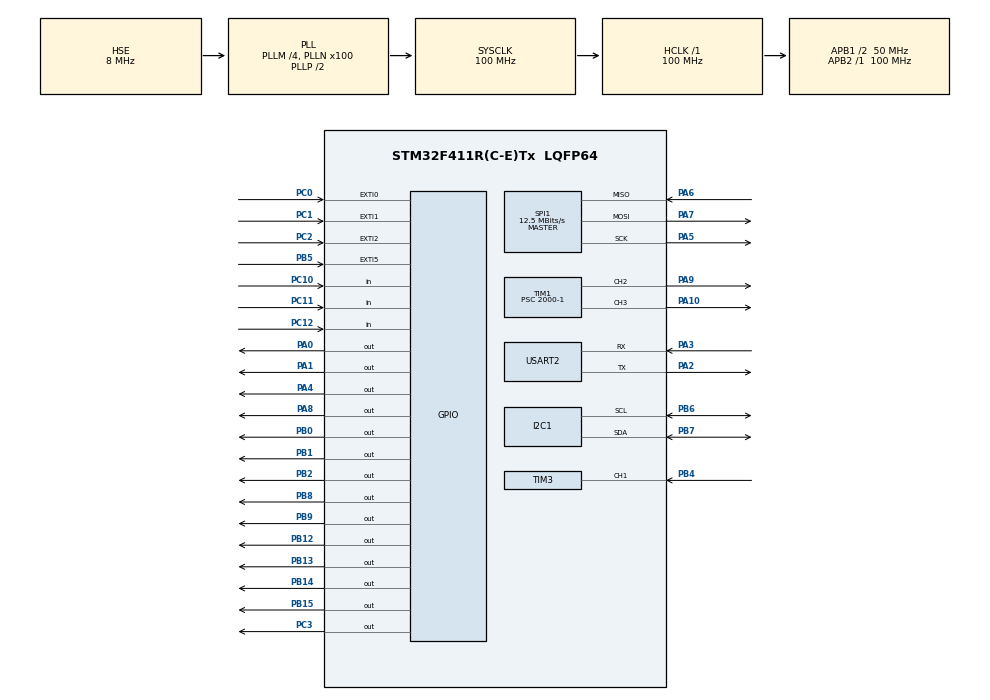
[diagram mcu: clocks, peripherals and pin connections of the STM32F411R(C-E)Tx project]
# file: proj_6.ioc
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Mcu.Family=STM32F4
Mcu.Name=STM32F411R(C-E)Tx
Mcu.Package=LQFP64
NVIC.EXTI0_IRQn=true\:0\:0\:false\:false\:true\:true\:true\:true
NVIC.EXTI1_IRQn=true\:0\:0\:false\:false\:true\:true\:true\:true
NVIC.EXTI2_IRQn=true\:0\:0\:false\:false\:true\:true\:true\:true
NVIC.PriorityGroup=NVIC_PRIORITYGROUP_4
NVIC.TIM3_IRQn=true\:0\:0\:false\:false\:true\:true\:true\:true
NVIC.USART2_IRQn=true\:0\:0\:false\:false\:true\:true\:true\:true
PA0-WKUP.Signal=GPIO_Output
PA1.Signal=GPIO_Output
PA10.Signal=S_TIM1_CH3
PA13.Mode=Serial_Wire
PA13.Signal=SYS_JTMS-SWDIO
PA14.Mode=Serial_Wire
PA14.Signal=SYS_JTCK-SWCLK
PA2.Mode=Asynchronous
PA2.Signal=USART2_TX
PA3.Mode=Asynchronous
PA3.Signal=USART2_RX
PA4.Signal=GPIO_Output
PA5.Mode=Full_Duplex_Master
PA5.Signal=SPI1_SCK
PA6.Mode=Full_Duplex_Master
PA6.Signal=SPI1_MISO
PA7.Mode=Full_Duplex_Master
PA7.Signal=SPI1_MOSI
PA8.Signal=GPIO_Output
PA9.Signal=S_TIM1_CH2
PB0.Signal=GPIO_Output
PB1.Signal=GPIO_Output
PB12.GPIO_Speed=GPIO_SPEED_FREQ_HIGH
PB12.Signal=GPIO_Output
PB13.GPIO_Speed=GPIO_SPEED_FREQ_HIGH
PB13.Signal=GPIO_Output
PB14.GPIO_Speed=GPIO_SPEED_FREQ_HIGH
PB14.Signal=GPIO_Output
PB15.GPIO_Speed=GPIO_SPEED_FREQ_HIGH
PB15.Signal=GPIO_Output
PB2.Signal=GPIO_Output
PB4.Signal=S_TIM3_CH1
PB5.Signal=GPXTI5
PB6.Mode=I2C
PB6.Signal=I2C1_SCL
PB7.Mode=I2C
PB7.Signal=I2C1_SDA
PB8.GPIO_Speed=GPIO_SPEED_FREQ_VERY_HIGH
PB8.Signal=GPIO_Output
PB9.Signal=GPIO_Output
PC0.GPIO_ModeDefaultEXTI=GPIO_MODE_IT_RISING
PC0.Signal=GPXTI0
PC1.GPIO_ModeDefaultEXTI=GPIO_MODE_IT_RISING
PC1.Signal=GPXTI1
PC10.Signal=GPIO_Input
PC11.Signal=GPIO_Input
PC12.Signal=GPIO_Input
PC2.GPIO_ModeDefaultEXTI=GPIO_MODE_IT_RISING
PC2.Signal=GPXTI2
PC3.Signal=GPIO_Output
PH0\ -\ OSC_IN.Mode=HSE-External-Oscillator
PH0\ -\ OSC_IN.Signal=RCC_OSC_IN
PH1\ -\ OSC_OUT.Mode=HSE-External-Oscillator
PH1\ -\ OSC_OUT.Signal=RCC_OSC_OUT
ProjectManager.HeapSize=0x200
ProjectManager.StackSize=0x400
ProjectManager.TargetToolchain=STM32CubeIDE
RCC.48MHZClocksFreq_Value=50000000
RCC.AHBFreq_Value=100000000
RCC.APB1CLKDivider=RCC_HCLK_DIV2
RCC.APB1Freq_Value=50000000
RCC.APB1TimFreq_Value=100000000
RCC.APB2Freq_Value=100000000
RCC.APB2TimFreq_Value=100000000
RCC.CortexFreq_Value=100000000
RCC.HCLKFreq_Value=100000000
RCC.HSE_VALUE=8000000
RCC.HSI_VALUE=16000000
RCC.LSE_VALUE=32768
RCC.PLLM=4
RCC.PLLN=100
RCC.PLLSourceVirtual=RCC_PLLSOURCE_HSE
RCC.SYSCLKFreq_VALUE=100000000
RCC.SYSCLKSource=RCC_SYSCLKSOURCE_PLLCLK
RCC.VCOOutputFreq_Value=200000000
SH.S_TIM1_CH2.0=TIM1_CH2,PWM Generation2 CH2
SH.S_TIM1_CH3.0=TIM1_CH3,PWM Generation3 CH3
SH.S_TIM3_CH1.0=TIM3_CH1,Input_Capture1_from_TI1
SPI1.BaudRatePrescaler=SPI_BAUDRATEPRESCALER_8
SPI1.CalculateBaudRate=12.5 MBits/s
SPI1.Direction=SPI_DIRECTION_2LINES
SPI1.Mode=SPI_MODE_MASTER
SPI1.VirtualType=VM_MASTER
TIM1.Channel-PWM\ Generation2\ CH2=TIM_CHANNEL_2
TIM1.Channel-PWM\ Generation3\ CH3=TIM_CHANNEL_3
TIM1.Period=1000-1
TIM1.Prescaler=2000-1
TIM1.Pulse-PWM\ Generation3\ CH3=500-1
TIM11.Prescaler=100-1
TIM3.Channel-Input_Capture1_from_TI1=TIM_CHANNEL_1
TIM3.Period=65535
TIM3.Prescaler=100-1
USART2.VirtualMode=VM_ASYNC
VP_TIM11_VS_ClockSourceINT.Mode=Enable_Timer
VP_TIM1_VS_ClockSourceINT.Mode=Internal
VP_TIM3_VS_ClockSourceINT.Mode=Internal
VP_TIM4_VS_ClockSourceINT.Mode=Internal
board=custom

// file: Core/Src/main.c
/* USER CODE BEGIN Header */
/**
  ******************************************************************************
  * @file           : main.c
  * @brief          : Main program body
  ******************************************************************************
  * @attention
  *
  * Copyright (c) 2025 STMicroelectronics.
  * All rights reserved.
  *
  * This software is licensed under terms that can be found in the LICENSE file
  * in the root directory of this software component.
  * If no LICENSE file comes with this software, it is provided AS-IS.
  *
  ******************************************************************************
  */
/* USER CODE END Header */
#include "main.h"
#include "i2c.h"
#include "spi.h"
#include "tim.h"
#include "usart.h"
#include "gpio.h"

/* USER CODE BEGIN Includes */

#include "button.h"
#include "buzzer.h"
#include "i2c_lcd.h"
#include "delay.h"
#include "stdio.h"
#include "led.h"
#include "stepper.h"
#include "ultrasonic.h"
#include "servo.h"

/* USER CODE END Includes */

/* USER CODE BEGIN PTD */

volatile uint8_t cur = 1; // 현재층
volatile uint8_t tar = 1;          // 목표층

/* USER CODE END PTD */

/* USER CODE BEGIN PM */

#ifdef __GNUC__
/* With GCC small printf (option LD Linker->Libraries->Small printf
 * set to 'Yes') calls __io_putchar() */
#define PUTCHAR_PROTOTYPE int  __io_putchar(int ch)
#else
#define PUTCHAR_PROTOTYPE int  fputc(int ch, FILE *f)
#endif /* __GNUC__*/

/** @brief Retargets the C library printf function to the USART.
 *  @param None
 *  @retval None
 */
PUTCHAR_PROTOTYPE
{
  /* Place your implementation of fputc here */
  /* e.g. write a character to the USART2 and Loop
     until the end of transmission */
  if(ch == '\n')
    HAL_UART_Transmit(&huart2, (uint8_t*) "\r", 1, 0xFFFF);
   HAL_UART_Transmit(&huart2, (uint8_t*) &ch, 1, 0xFFFF);
}

/* USER CODE END PM */

/* USER CODE BEGIN PV */

extern uint8_t distance;

/* USER CODE END PV */

void SystemClock_Config(void);

/* USER CODE BEGIN 0 */

extern uint64_t pattern_down;  // 초기 LED 패턴
extern uint64_t pattern_up;
Direction moveDir = DIR_STOP; // LED 초기

//uint8_t flag = 0;

/* USER CODE END 0 */

int main(void)
{

  /* MCU Configuration--------------------------------------------------------*/

  /* Reset of all peripherals, Initializes the Flash interface and the Systick. */
  HAL_Init();

  /* Configure the system clock */
  SystemClock_Config();

  /* Initialize all configured peripherals */
  MX_GPIO_Init();
  MX_SPI1_Init();
  MX_TIM3_Init();
  MX_TIM4_Init();
  MX_USART2_UART_Init();
  MX_I2C1_Init();
  MX_TIM1_Init();
  MX_TIM11_Init();
  /* USER CODE BEGIN 2 */

// LCD 초기화
  i2c_lcd_init();

//초음파 TIM3
  HAL_TIM_Base_Start(&htim3);
  HAL_TIM_IC_Start_IT(&htim3, TIM_CHANNEL_1);
  //HAL_TIM_Base_Start(&htim3); // 시작해 __ 인 애들은 디파인 // 시작하니 카운트 시작

//서보모터 TIM1_CH2
  HAL_TIM_PWM_Start(&htim1, TIM_CHANNEL_2);

//버저 TIM1_CH3
  HAL_TIM_PWM_Start(&htim1, TIM_CHANNEL_3);

//스텝모터 TIM11
  HAL_TIM_Base_Start(&htim11);

  /* USER CODE END 2 */

  /* Infinite loop */
  /* USER CODE BEGIN WHILE */
  while (1)
  {
     Door_Update();
     checkButtons(); // 버튼 확인해서 tar 설정
     HAL_Delay(2); //
     LCD_Update(cur, tar, doorState);  // 계속 상태 출력

     if (cur != tar)
      {
	 DOOR_Close();
	 HAL_Delay(500);
         moveElevator(); // 현재층에서 목표층 이동
         // cur 값은 포토인터럽트에서 자동으로 갱신됨
      }

     printf("cur = %d, tar = %d\n", cur, tar);
     HAL_Delay(1000);

    /* USER CODE END WHILE */

  }
}

void SystemClock_Config(void)
{
  RCC_OscInitTypeDef RCC_OscInitStruct = {0};
  RCC_ClkInitTypeDef RCC_ClkInitStruct = {0};

  /** Configure the main internal regulator output voltage
  */
  __HAL_RCC_PWR_CLK_ENABLE();
  __HAL_PWR_VOLTAGESCALING_CONFIG(PWR_REGULATOR_VOLTAGE_SCALE1);

  /** Initializes the RCC Oscillators according to the specified parameters
  * in the RCC_OscInitTypeDef structure.
  */
  RCC_OscInitStruct.OscillatorType = RCC_OSCILLATORTYPE_HSE;
  RCC_OscInitStruct.HSEState = RCC_HSE_ON;
  RCC_OscInitStruct.PLL.PLLState = RCC_PLL_ON;
  RCC_OscInitStruct.PLL.PLLSource = RCC_PLLSOURCE_HSE;
  RCC_OscInitStruct.PLL.PLLM = 4;
  RCC_OscInitStruct.PLL.PLLN = 100;
  RCC_OscInitStruct.PLL.PLLP = RCC_PLLP_DIV2;
  RCC_OscInitStruct.PLL.PLLQ = 4;
  if (HAL_RCC_OscConfig(&RCC_OscInitStruct) != HAL_OK)
  {
    Error_Handler();
  }

  /** Initializes the CPU, AHB and APB buses clocks
  */
  RCC_ClkInitStruct.ClockType = RCC_CLOCKTYPE_HCLK|RCC_CLOCKTYPE_SYSCLK
                              |RCC_CLOCKTYPE_PCLK1|RCC_CLOCKTYPE_PCLK2;
  RCC_ClkInitStruct.SYSCLKSource = RCC_SYSCLKSOURCE_PLLCLK;
  RCC_ClkInitStruct.AHBCLKDivider = RCC_SYSCLK_DIV1;
  RCC_ClkInitStruct.APB1CLKDivider = RCC_HCLK_DIV2;
  RCC_ClkInitStruct.APB2CLKDivider = RCC_HCLK_DIV1;

  if (HAL_RCC_ClockConfig(&RCC_ClkInitStruct, FLASH_LATENCY_3) != HAL_OK)
  {
    Error_Handler();
  }
}

/* USER CODE BEGIN 4 */

// 포토인터럽트 callback 함수 만들었고 제대로 찍히는지 UART로 확인
void HAL_GPIO_EXTI_Callback(uint16_t GPIO_Pin)
{

    if (GPIO_Pin == GPIO_PIN_2)			// PIN2번이기 때문에 PIN_NUM이 8비트 형식인 4로 찍힘
    {
        cur = 3;
        printf("3F, cur = %d\n", cur);
    }
    else if (GPIO_Pin == GPIO_PIN_1)
    {
        cur = 2;
        printf("2F, cur = %d\n", cur);
    }
    else if (GPIO_Pin == GPIO_PIN_0)
    {
        cur = 1;
        printf("1F, cur = %d\n", cur);
    }
}

/* USER CODE END 4 */

void Error_Handler(void)
{
  __disable_irq();
  while (1)
  {
  }
}
